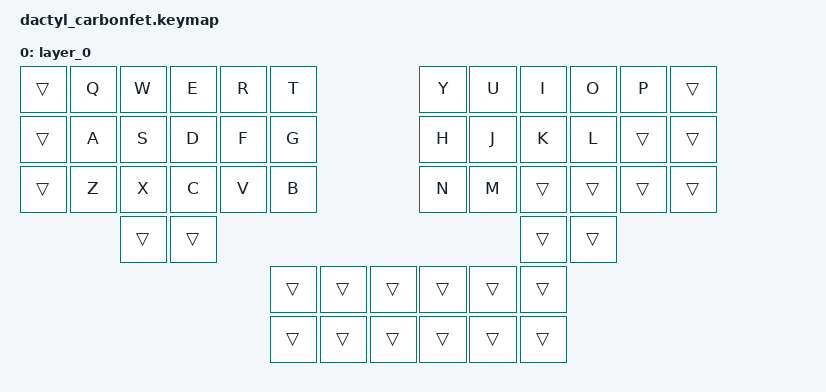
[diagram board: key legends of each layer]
#include <behaviors.dtsi>
#include <dt-bindings/zmk/keys.h>

/ {
    keymap {
        compatible = "zmk,keymap";

        layer_0 {
            bindings = <
&trans  &kp Q   &kp W   &kp E   &kp R   &kp T                                                   &kp Y   &kp U   &kp I   &kp O   &kp P   &trans
&trans  &kp A   &kp S   &kp D   &kp F   &kp G                                                   &kp H   &kp J   &kp K   &kp L   &trans  &trans
&trans  &kp Z   &kp X   &kp C   &kp V   &kp B                                                   &kp N   &kp M   &trans  &trans  &trans  &trans
                &trans  &trans                                                                                  &trans  &trans
                                                &trans  &trans  &trans  &trans  &trans  &trans
                                                &trans  &trans  &trans  &trans  &trans  &trans
            >;
        };
    };
};
